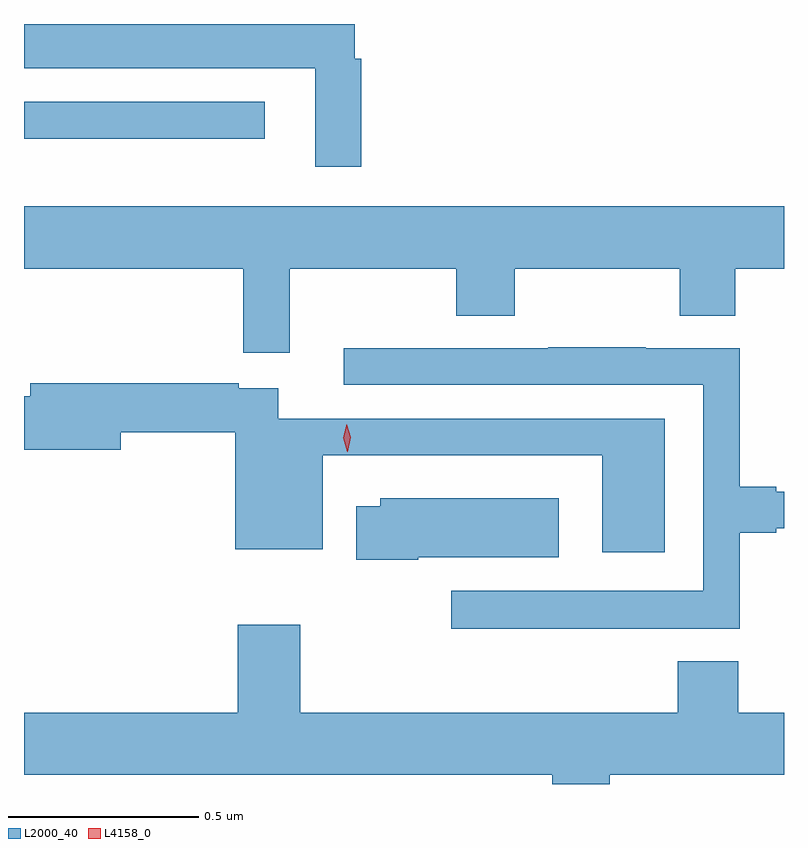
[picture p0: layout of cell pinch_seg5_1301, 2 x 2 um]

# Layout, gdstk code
import gdstk
lib = gdstk.Library(unit=1e-6, precision=1e-09)
def R(c, l, rs):  # rectangles x0, y0, x1, y1
    for r in rs: c.add(gdstk.rectangle(r[:2], r[2:], *l))
def P(c, l, *ps):  # polygons
    for p in ps: c.add(gdstk.Polygon(p, *l))
L2000_40 = (2000, 40)
L4158_0 = (4158, 0)

pinch_seg5_1301 = lib.new_cell('pinch_seg5_1301')
R(pinch_seg5_1301, L2000_40, [(485.593,855.77,486.226,855.867)])
P(pinch_seg5_1301, L2000_40, [(486.481,855.98),(486.463,855.98),(486.463,856.072),(485.593,856.072),(485.593,855.956),(486.359,855.956),(486.359,855.696),(486.481,855.696)],
  [(486.292,855.428),(486.73,855.428),(486.73,855.304),(486.885,855.304),(486.885,855.428),(487.318,855.428),(487.318,855.304),(487.465,855.304),(487.465,855.428),(487.593,855.428),(487.593,855.592),(485.593,855.592),(485.593,855.428),(486.17,855.428),(486.17,855.207),(486.292,855.207)],
  [(487.477,854.733),(487.573,854.733),(487.573,854.745),(487.593,854.745),(487.593,854.841),(487.573,854.841),(487.573,854.854),(487.477,854.854),(487.477,855.219),(487.229,855.219),(487.229,855.221),(486.973,855.221),(486.973,855.219),(486.435,855.219),(486.435,855.123),(487.38,855.123),(487.38,854.581),(486.717,854.581),(486.717,854.48),(487.477,854.48)],
  [(487.279,855.033),(486.262,855.033),(486.262,855.114),(486.158,855.114),(486.158,855.126),(486.053,855.126),(486.053,855.127),(485.609,855.127),(485.609,855.093),(485.593,855.093),(485.593,854.951),(485.848,854.951),(485.848,854.998),(486.149,854.998),(486.149,854.69),(486.379,854.69),(486.379,854.937),(487.115,854.937),(487.115,854.682),(487.279,854.682)],
  [(486.631,854.669),(487,854.669),(487,854.824),(486.531,854.824),(486.531,854.803),(486.467,854.803),(486.467,854.662),(486.631,854.662)],
  [(487.135,854.096),(487.593,854.096),(487.593,854.26),(487.473,854.26),(487.473,854.395),(487.313,854.395),(487.313,854.26),(486.32,854.26),(486.32,854.491),(486.155,854.491),(486.155,854.26),(485.593,854.26),(485.593,854.096),(486.983,854.096),(486.983,854.072),(487.135,854.072)])
P(pinch_seg5_1301, L4158_0, [(486.444,854.947),(486.433,854.983),(486.442,855.019),(486.442,855.019),(486.442,855.019),(486.453,854.984),(486.445,854.947),(486.445,854.947)])

lib.write_gds('pinch_seg5_1301.gds')
